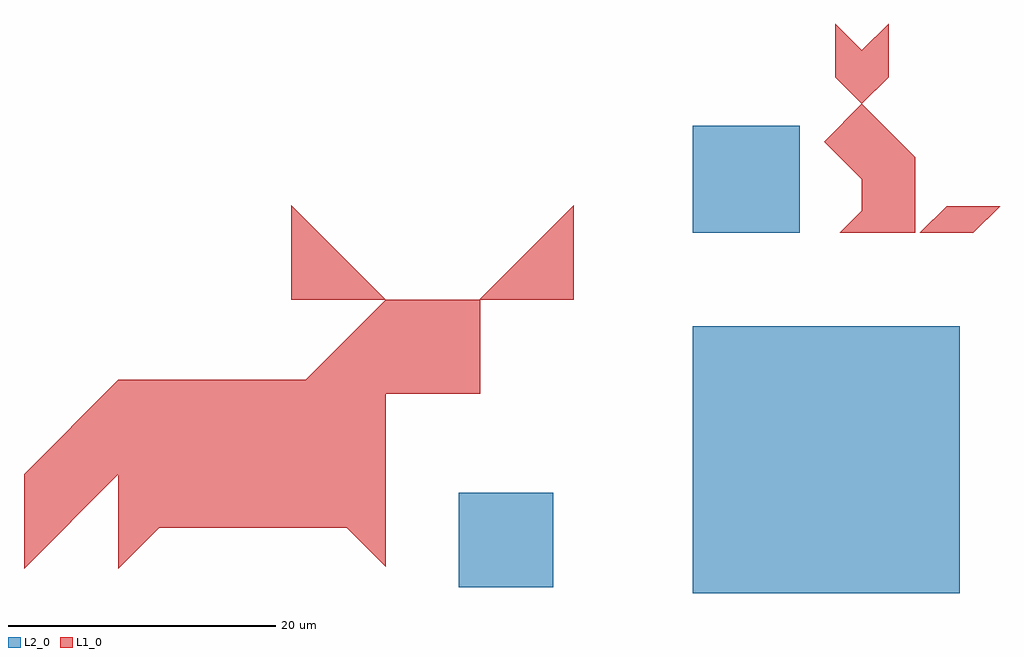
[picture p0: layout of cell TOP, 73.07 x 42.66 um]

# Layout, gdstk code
import gdstk
lib = gdstk.Library(unit=1e-6, precision=1e-09)
def R(c, l, rs):  # rectangles x0, y0, x1, y1
    for r in rs: c.add(gdstk.rectangle(r[:2], r[2:], *l))
def P(c, l, *ps):  # polygons
    for p in ps: c.add(gdstk.Polygon(p, *l))
L1_0 = (1, 0)
L2_0 = (2, 0)

top = lib.new_cell('TOP')
R(top, L1_0, [(-33,4.928,-25.928,12)])
P(top, L1_0, [(-50.071,-5.071),(-43,2),(-35.929,-5.071)],
  [(-60.072,-8.142),(-60.072,-1.071),(-53,6),(-53,-1.071)],
  [(-53,-8.143),(-53,6),(-38.857,6)],
  [(-26,12),(-18.929,19.071),(-18.929,12)],
  [(-40.071,12),(-40.071,19.071),(-33,12)],
  [(-33,-8),(-43,2),(-33,12)],
  [(1,17),(6.657,22.657),(6.657,17)],
  [(2.657,18.657),(2.657,26.657),(6.657,22.657)],
  [(4.657,28.657),(2.657,30.657),(4.657,32.657)],
  [(2.657,26.657),(0.657,28.657),(2.657,30.657),(4.657,28.657)],
  [(2.657,21.001),(-0.171,23.829),(2.657,26.657)],
  [(0.657,28.657),(0.657,32.657),(2.657,30.657)],
  [(7,17),(9,19),(13,19),(11,17)])
R(top, L2_0, [(-27.536,-9.536,-20.464,-2.464), (-10,17,-2,25)])
P(top, L2_0, [(-10,0),(-10,10),(0,10)],
  [(-10,-10),(0,0),(10,-10)],
  [(-5,-5),(-10,0),(-5,5),(0,0)],
  [(-10,-10),(-10,0),(-5,-5)],
  [(0,0),(-5,5),(5,5)],
  [(10,-10),(0,0),(10,10)],
  [(-5,5),(0,10),(10,10),(5,5)],
  [(-8,23),(-6,25),(-2,25),(-4,23)],
  [(-6,21),(-8,23),(-4,23)],
  [(-10,21),(-10,25),(-6,25)],
  [(-8,19),(-10,21),(-8,23),(-6,21)],
  [(-10,17),(-10,21),(-8,19)],
  [(-2,17),(-6,21),(-2,25)],
  [(-10,17),(-6,21),(-2,17)])

lib.write_gds('TOP.gds')
